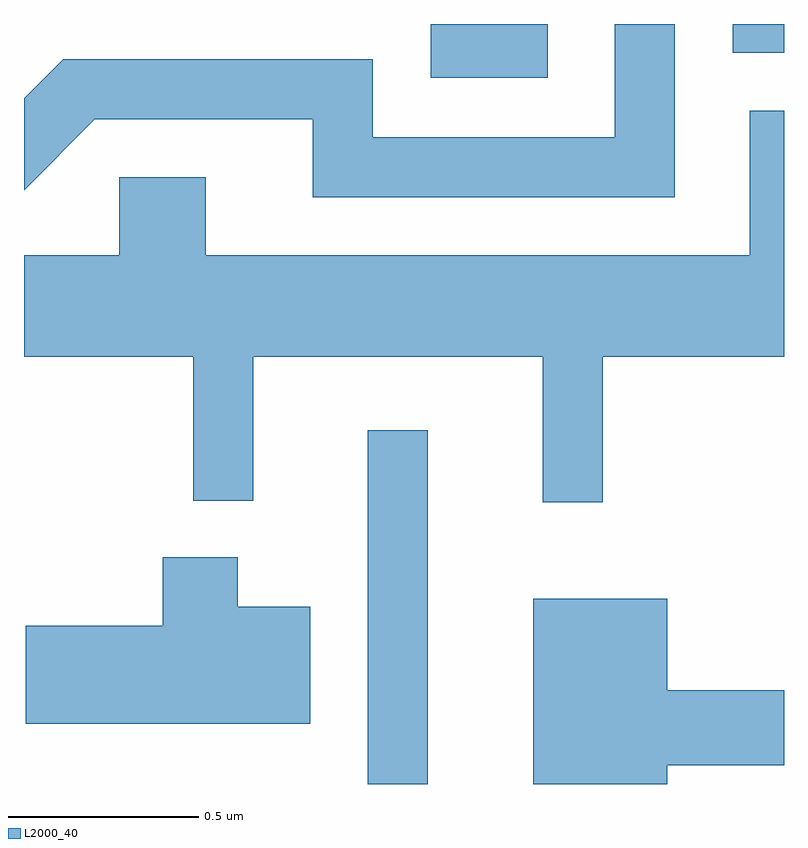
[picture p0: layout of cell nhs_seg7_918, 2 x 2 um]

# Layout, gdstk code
import gdstk
lib = gdstk.Library(unit=1e-6, precision=1e-09)
def R(c, l, rs):  # rectangles x0, y0, x1, y1
    for r in rs: c.add(gdstk.rectangle(r[:2], r[2:], *l))
def P(c, l, *ps):  # polygons
    for p in ps: c.add(gdstk.Polygon(p, *l))
L2000_40 = (2000, 40)

nhs_seg7_918 = lib.new_cell('nhs_seg7_918')
R(nhs_seg7_918, L2000_40, [(192.516,1764.252,192.674,1765.183), (192.681,1766.111,192.989,1766.252), (193.476,1766.176,193.611,1766.252)])
P(nhs_seg7_918, L2000_40, [(193.324,1766.252),(193.166,1766.252),(193.166,1765.954),(192.529,1765.954),(192.529,1766.159),(191.714,1766.159),(191.611,1766.056),(191.611,1765.815),(191.797,1766.001),(192.371,1766.001),(192.371,1765.796),(193.324,1765.796)],
  [(193.134,1765.376),(193.611,1765.376),(193.611,1766.024),(193.521,1766.024),(193.521,1765.644),(192.089,1765.644),(192.089,1765.849),(191.861,1765.849),(191.861,1765.644),(191.611,1765.644),(191.611,1765.376),(192.056,1765.376),(192.056,1764.998),(192.214,1764.998),(192.214,1765.376),(192.976,1765.376),(192.976,1764.993),(193.134,1764.993)],
  [(192.364,1764.719),(192.174,1764.719),(192.174,1764.849),(191.976,1764.849),(191.976,1764.669),(191.616,1764.669),(191.616,1764.411),(192.364,1764.411)],
  [(193.304,1764.301),(193.611,1764.301),(193.611,1764.499),(193.304,1764.499),(193.304,1764.739),(192.951,1764.739),(192.951,1764.252),(193.304,1764.252)])

lib.write_gds('nhs_seg7_918.gds')
